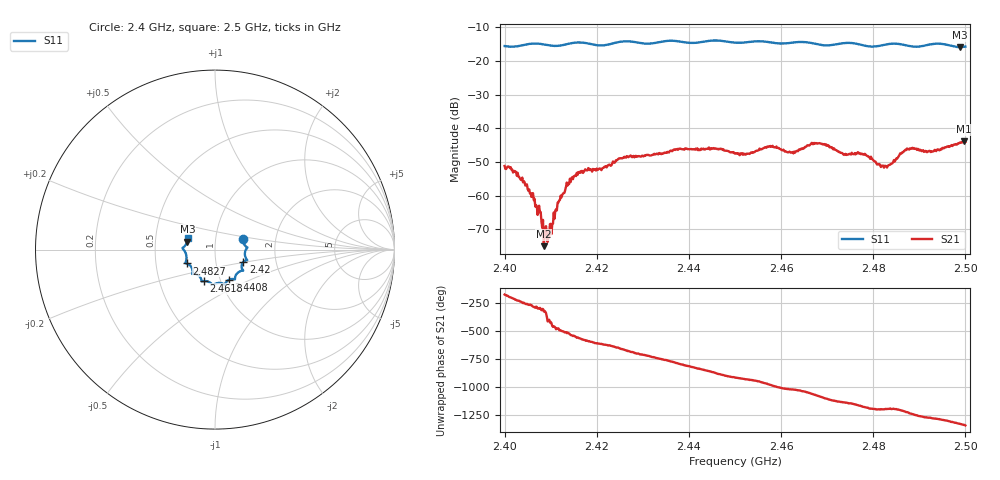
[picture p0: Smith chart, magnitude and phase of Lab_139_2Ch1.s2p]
# Hz S RI R 50
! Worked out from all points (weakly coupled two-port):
!   601 points, 2.4 GHz to 2.5 GHz, reference 50 ohm
!   highest |S21| = -43.89 dB at 2.4997 GHz (marker M1); lowest = -75.0 dB at 2.4085 GHz (marker M2)
!   lowest |S11| = -15.9 dB at 2.4988 GHz (marker M3), VSWR 1.38, Z = 36.5 + j3.38 ohm
!   |S11| at or under -10 dB: start of sweep to end of sweep
!   S12 and S22 are empty: the file has one direction only
!   S11 on the Smith chart (normalised r, x): 2.4 GHz: 1.35, +0.17; 2.42 GHz: 1.36, -0.19; 2.4408 GHz: 1.10, -0.38; 2.4618 GHz: 0.84, -0.30; 2.4827 GHz: 0.72, -0.12; 2.5 GHz: 0.73, +0.09
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2.4e9  0.1549 0.0617  -0.00276 -8.72e-05  0 0  0 0
2.404333e9  0.1734 0.0168  -0.000374 0.00154  0 0  0 0
2.407333e9  0.1806 0.0109  0.000337 0.000576  0 0  0 0
2.4085e9  0.1764 0.00638  0.000152 9.18e-05  0 0  0 0
2.409667e9  0.1706 -0.00286  0.000178 -0.000163  0 0  0 0
2.411667e9  0.1662 -0.0263  -0.000387 -0.00069  0 0  0 0
2.413667e9  0.1724 -0.0481  -0.0013 -0.000556  0 0  0 0
2.416667e9  0.1786 -0.0588  -0.00187 0.00138  0 0  0 0
2.42e9  0.1572 -0.0692  -0.000715 0.00242  0 0  0 0
2.433333e9  0.1121 -0.1528  0.00362 -0.00194  0 0  0 0
2.440833e9  0.0781 -0.1685  -0.00132 -0.00471  0 0  0 0
2.45e9  0.0272 -0.1853  -0.00398 0.00137  0 0  0 0
2.457667e9  -0.0213 -0.1882  -0.000636 0.00544  0 0  0 0
2.461833e9  -0.0608 -0.1753  0.00247 0.00377  0 0  0 0
2.466667e9  -0.0763 -0.168  0.00584 0.00173  0 0  0 0
2.478e9  -0.1255 -0.1146  -0.000819 -0.00399  0 0  0 0
2.482667e9  -0.1576 -0.0774  -0.0013 -0.00245  0 0  0 0
2.483333e9  -0.1615 -0.0763  -0.00135 -0.00249  0 0  0 0
2.4875e9  -0.1593 -0.0556  -0.00424 -0.00251  0 0  0 0
2.498833e9  -0.1542 0.0451  -0.0019 0.00586  0 0  0 0
2.499667e9  -0.1518 0.0576  -0.000953 0.00632  0 0  0 0
2.5e9  -0.1514 0.0626  -0.000443 0.00629  0 0  0 0
